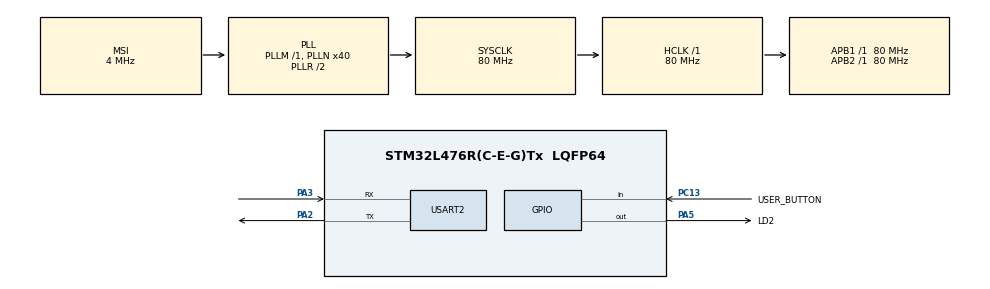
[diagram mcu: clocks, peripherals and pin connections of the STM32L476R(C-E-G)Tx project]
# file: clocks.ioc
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IWDG.Prescaler=IWDG_PRESCALER_32
Mcu.Family=STM32L4
Mcu.Name=STM32L476R(C-E-G)Tx
Mcu.Package=LQFP64
NVIC.PriorityGroup=NVIC_PRIORITYGROUP_4
PA13\ (JTMS-SWDIO).Mode=Serial_Wire
PA13\ (JTMS-SWDIO).Signal=SYS_JTMS-SWDIO
PA14\ (JTCK-SWCLK).Mode=Serial_Wire
PA14\ (JTCK-SWCLK).Signal=SYS_JTCK-SWCLK
PA2.Mode=Asynchronous
PA2.Signal=USART2_TX
PA3.Mode=Asynchronous
PA3.Signal=USART2_RX
PA5.GPIO_Label=LD2
PA5.Signal=GPIO_Output
PC13.GPIO_Label=USER_BUTTON
PC13.Signal=GPIO_Input
PC14-OSC32_IN\ (PC14).Mode=LSE-External-Oscillator
PC14-OSC32_IN\ (PC14).Signal=RCC_OSC32_IN
PC15-OSC32_OUT\ (PC15).Mode=LSE-External-Oscillator
PC15-OSC32_OUT\ (PC15).Signal=RCC_OSC32_OUT
ProjectManager.HeapSize=0x200
ProjectManager.StackSize=0x400
ProjectManager.TargetToolchain=STM32CubeIDE
RCC.AHBFreq_Value=80000000
RCC.APB1Freq_Value=80000000
RCC.APB1TimFreq_Value=80000000
RCC.APB2Freq_Value=80000000
RCC.APB2TimFreq_Value=80000000
RCC.CortexFreq_Value=80000000
RCC.HCLKFreq_Value=80000000
RCC.HSE_VALUE=8000000
RCC.HSI_VALUE=16000000
RCC.MSI_VALUE=4000000
RCC.PLLN=40
RCC.RTCClockSelection=RCC_RTCCLKSOURCE_LSE
RCC.SYSCLKFreq_VALUE=80000000
RCC.SYSCLKSource=RCC_SYSCLKSOURCE_PLLCLK
RCC.VCOOutputFreq_Value=160000000
USART2.VirtualMode-Asynchronous=VM_ASYNC
VP_IWDG_VS_IWDG.Mode=IWDG_Activate
VP_RTC_VS_RTC_Activate.Mode=RTC_Enabled
board=custom

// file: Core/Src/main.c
/* USER CODE BEGIN Header */
/**
  ******************************************************************************
  * @file           : main.c
  * @brief          : Main program body
  ******************************************************************************
  * @attention
  *
  * Copyright (c) 2024 STMicroelectronics.
  * All rights reserved.
  *
  * This software is licensed under terms that can be found in the LICENSE file
  * in the root directory of this software component.
  * If no LICENSE file comes with this software, it is provided AS-IS.
  *
  ******************************************************************************
  */
/* USER CODE END Header */
#include "main.h"

/* USER CODE BEGIN Includes */
#include <stdio.h>
#include <string.h>
#include <stdbool.h>

/* USER CODE END Includes */

IWDG_HandleTypeDef hiwdg;

RTC_HandleTypeDef hrtc;

UART_HandleTypeDef huart2;

void SystemClock_Config(void);
static void MX_GPIO_Init(void);
static void MX_RTC_Init(void);
static void MX_USART2_UART_Init(void);
static void MX_IWDG_Init(void);

/* USER CODE BEGIN 0 */
int __io_putchar(int ch)
{
    if (ch == '\n') {
        uint8_t ch2 = '\r';
        HAL_UART_Transmit(&huart2, &ch2, 1, HAL_MAX_DELAY);
    }

    HAL_UART_Transmit(&huart2, (uint8_t*)&ch, 1, HAL_MAX_DELAY);
    return 1;
}

bool is_button_pressed(void)
{
  if (HAL_GPIO_ReadPin(USER_BUTTON_GPIO_Port, USER_BUTTON_Pin) == GPIO_PIN_RESET) {
    return true;
  } else {
    return false;
  }
}

/* USER CODE END 0 */

int main(void)
{

  /* MCU Configuration--------------------------------------------------------*/

  /* Reset of all peripherals, Initializes the Flash interface and the Systick. */
  HAL_Init();

  /* Configure the system clock */
  SystemClock_Config();

  /* Initialize all configured peripherals */
  MX_GPIO_Init();
  MX_RTC_Init();
  MX_USART2_UART_Init();
  MX_IWDG_Init();

  /* Infinite loop */
  /* USER CODE BEGIN WHILE */
  RTC_DateTypeDef today;
  today.Year = 24;
  today.Month = 02;
  today.Date = 29;
  today.WeekDay = RTC_WEEKDAY_SATURDAY;
  HAL_RTC_SetDate(&hrtc, &today, RTC_FORMAT_BIN);
  // ustawiamy godzinę 07:45:00
  RTC_TimeTypeDef time; //obsługa daty i godziny
  RTC_DateTypeDef date;
  RTC_TimeTypeDef new_time = {0};
  	  	new_time.Hours = 23;
  	  	new_time.Minutes = 59;
  	  	new_time.Seconds = 50;
  	  	HAL_RTC_SetTime(&hrtc, &new_time, RTC_FORMAT_BIN);

  //watchdog
  int i;

  for (i = 0; i < 10; i++) {
    HAL_GPIO_TogglePin(LD2_GPIO_Port, LD2_Pin);
    HAL_Delay(100);
  }

  uint32_t last_ms = HAL_GetTick();
  while (1)
  {
	  HAL_RTC_GetTime(&hrtc, &time, RTC_FORMAT_BIN);
	  HAL_RTC_GetDate(&hrtc, &date, RTC_FORMAT_BIN);

	  printf("RTC: %04d-%02d-%02d, %02d:%02d:%02d\n", 2000 + date.Year, date.Month, date.Date, time.Hours, time.Minutes, time.Seconds);
	  HAL_Delay(200);

	  //watchdog
	  uint32_t now = HAL_GetTick();
	  if (is_button_pressed()) {
	  		  while (1) ;
	  	  }
	  	  if (now - last_ms >= 500) {
	  		  HAL_GPIO_TogglePin(LD2_GPIO_Port, LD2_Pin);
	  		  last_ms = now;
	  	  }
	  	  //obsługa watchdog'a
	  	HAL_IWDG_Refresh(&hiwdg);

    /* USER CODE END WHILE */

  }
}

void SystemClock_Config(void)
{
  RCC_OscInitTypeDef RCC_OscInitStruct = {0};
  RCC_ClkInitTypeDef RCC_ClkInitStruct = {0};

  /** Configure the main internal regulator output voltage
  */
  if (HAL_PWREx_ControlVoltageScaling(PWR_REGULATOR_VOLTAGE_SCALE1) != HAL_OK)
  {
    Error_Handler();
  }

  /** Configure LSE Drive Capability
  */
  HAL_PWR_EnableBkUpAccess();
  __HAL_RCC_LSEDRIVE_CONFIG(RCC_LSEDRIVE_LOW);

  /** Initializes the RCC Oscillators according to the specified parameters
  * in the RCC_OscInitTypeDef structure.
  */
  RCC_OscInitStruct.OscillatorType = RCC_OSCILLATORTYPE_LSI|RCC_OSCILLATORTYPE_LSE
                              |RCC_OSCILLATORTYPE_MSI;
  RCC_OscInitStruct.LSEState = RCC_LSE_ON;
  RCC_OscInitStruct.LSIState = RCC_LSI_ON;
  RCC_OscInitStruct.MSIState = RCC_MSI_ON;
  RCC_OscInitStruct.MSICalibrationValue = 0;
  RCC_OscInitStruct.MSIClockRange = RCC_MSIRANGE_6;
  RCC_OscInitStruct.PLL.PLLState = RCC_PLL_ON;
  RCC_OscInitStruct.PLL.PLLSource = RCC_PLLSOURCE_MSI;
  RCC_OscInitStruct.PLL.PLLM = 1;
  RCC_OscInitStruct.PLL.PLLN = 40;
  RCC_OscInitStruct.PLL.PLLP = RCC_PLLP_DIV7;
  RCC_OscInitStruct.PLL.PLLQ = RCC_PLLQ_DIV2;
  RCC_OscInitStruct.PLL.PLLR = RCC_PLLR_DIV2;
  if (HAL_RCC_OscConfig(&RCC_OscInitStruct) != HAL_OK)
  {
    Error_Handler();
  }

  /** Initializes the CPU, AHB and APB buses clocks
  */
  RCC_ClkInitStruct.ClockType = RCC_CLOCKTYPE_HCLK|RCC_CLOCKTYPE_SYSCLK
                              |RCC_CLOCKTYPE_PCLK1|RCC_CLOCKTYPE_PCLK2;
  RCC_ClkInitStruct.SYSCLKSource = RCC_SYSCLKSOURCE_PLLCLK;
  RCC_ClkInitStruct.AHBCLKDivider = RCC_SYSCLK_DIV1;
  RCC_ClkInitStruct.APB1CLKDivider = RCC_HCLK_DIV1;
  RCC_ClkInitStruct.APB2CLKDivider = RCC_HCLK_DIV1;

  if (HAL_RCC_ClockConfig(&RCC_ClkInitStruct, FLASH_LATENCY_4) != HAL_OK)
  {
    Error_Handler();
  }

  /** Enable MSI Auto calibration
  */
  HAL_RCCEx_EnableMSIPLLMode();
}

static void MX_IWDG_Init(void)
{

  hiwdg.Instance = IWDG;
  hiwdg.Init.Prescaler = IWDG_PRESCALER_32;
  hiwdg.Init.Window = 4095;
  hiwdg.Init.Reload = 4095;
  if (HAL_IWDG_Init(&hiwdg) != HAL_OK)
  {
    Error_Handler();
  }

}

static void MX_RTC_Init(void)
{

  /** Initialize RTC Only
  */
  hrtc.Instance = RTC;
  hrtc.Init.HourFormat = RTC_HOURFORMAT_24;
  hrtc.Init.AsynchPrediv = 127;
  hrtc.Init.SynchPrediv = 255;
  hrtc.Init.OutPut = RTC_OUTPUT_DISABLE;
  hrtc.Init.OutPutRemap = RTC_OUTPUT_REMAP_NONE;
  hrtc.Init.OutPutPolarity = RTC_OUTPUT_POLARITY_HIGH;
  hrtc.Init.OutPutType = RTC_OUTPUT_TYPE_OPENDRAIN;
  if (HAL_RTC_Init(&hrtc) != HAL_OK)
  {
    Error_Handler();
  }

}

static void MX_USART2_UART_Init(void)
{

  huart2.Instance = USART2;
  huart2.Init.BaudRate = 115200;
  huart2.Init.WordLength = UART_WORDLENGTH_8B;
  huart2.Init.StopBits = UART_STOPBITS_1;
  huart2.Init.Parity = UART_PARITY_NONE;
  huart2.Init.Mode = UART_MODE_TX_RX;
  huart2.Init.HwFlowCtl = UART_HWCONTROL_NONE;
  huart2.Init.OverSampling = UART_OVERSAMPLING_16;
  huart2.Init.OneBitSampling = UART_ONE_BIT_SAMPLE_DISABLE;
  huart2.AdvancedInit.AdvFeatureInit = UART_ADVFEATURE_NO_INIT;
  if (HAL_UART_Init(&huart2) != HAL_OK)
  {
    Error_Handler();
  }

}

static void MX_GPIO_Init(void)
{
  GPIO_InitTypeDef GPIO_InitStruct = {0};

  /* GPIO Ports Clock Enable */
  __HAL_RCC_GPIOC_CLK_ENABLE();
  __HAL_RCC_GPIOA_CLK_ENABLE();

  /*Configure GPIO pin Output Level */
  HAL_GPIO_WritePin(LD2_GPIO_Port, LD2_Pin, GPIO_PIN_RESET);

  /*Configure GPIO pin : USER_BUTTON_Pin */
  GPIO_InitStruct.Pin = USER_BUTTON_Pin;
  GPIO_InitStruct.Mode = GPIO_MODE_INPUT;
  GPIO_InitStruct.Pull = GPIO_NOPULL;
  HAL_GPIO_Init(USER_BUTTON_GPIO_Port, &GPIO_InitStruct);

  /*Configure GPIO pin : LD2_Pin */
  GPIO_InitStruct.Pin = LD2_Pin;
  GPIO_InitStruct.Mode = GPIO_MODE_OUTPUT_PP;
  GPIO_InitStruct.Pull = GPIO_NOPULL;
  GPIO_InitStruct.Speed = GPIO_SPEED_FREQ_LOW;
  HAL_GPIO_Init(LD2_GPIO_Port, &GPIO_InitStruct);

}

void Error_Handler(void)
{
  __disable_irq();
  while (1)
  {
  }
}
